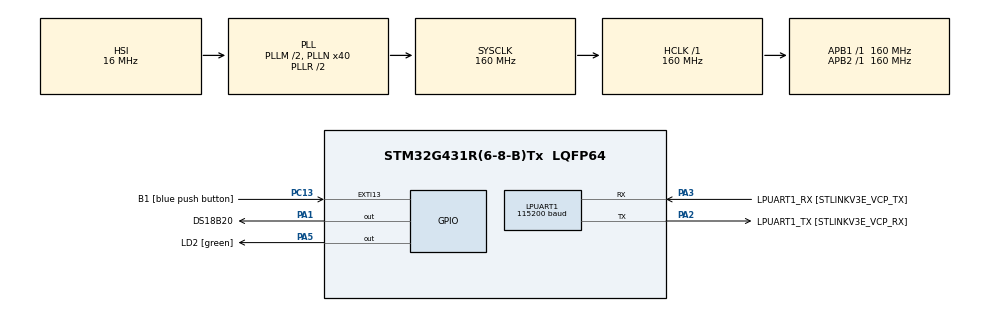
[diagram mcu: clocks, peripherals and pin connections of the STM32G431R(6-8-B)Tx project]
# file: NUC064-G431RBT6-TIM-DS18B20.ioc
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LPUART1.BaudRate=115200
Mcu.Family=STM32G4
Mcu.Name=STM32G431R(6-8-B)Tx
Mcu.Package=LQFP64
NVIC.PriorityGroup=NVIC_PRIORITYGROUP_4
PA1.GPIO_Label=DS18B20
PA1.Signal=GPIO_Output
PA13.GPIO_Label=T_SWDIO
PA13.Mode=Serial_Wire
PA13.Signal=SYS_JTMS-SWDIO
PA14.GPIO_Label=T_SWCLK
PA14.Mode=Serial_Wire
PA14.Signal=SYS_JTCK-SWCLK
PA2.GPIO_Label=LPUART1_TX [STLINKV3E_VCP_RX]
PA2.Mode=Asynchronous
PA2.Signal=LPUART1_TX
PA3.GPIO_Label=LPUART1_RX [STLINKV3E_VCP_TX]
PA3.Mode=Asynchronous
PA3.Signal=LPUART1_RX
PA5.GPIO_Label=LD2 [green]
PA5.Signal=GPIO_Output
PC13.GPIO_Label=B1 [blue push button]
PC13.Signal=GPXTI13
ProjectManager.HeapSize=0x200
ProjectManager.StackSize=0x400
ProjectManager.TargetToolchain=STM32CubeIDE
RCC.ADC12Freq_Value=160000000
RCC.AHBFreq_Value=160000000
RCC.APB1Freq_Value=160000000
RCC.APB1TimFreq_Value=160000000
RCC.APB2Freq_Value=160000000
RCC.APB2TimFreq_Value=160000000
RCC.CortexFreq_Value=160000000
RCC.EXTERNAL_CLOCK_VALUE=12288000
RCC.HCLKFreq_Value=160000000
RCC.HSE_VALUE=24000000
RCC.HSI48_VALUE=48000000
RCC.HSI_VALUE=16000000
RCC.LSE_VALUE=32768
RCC.PLLM=RCC_PLLM_DIV2
RCC.PLLN=40
RCC.RTCClockSelection=RCC_RTCCLKSOURCE_LSE
RCC.SYSCLKFreq_VALUE=160000000
RCC.SYSCLKSource=RCC_SYSCLKSOURCE_PLLCLK
RCC.USBFreq_Value=160000000
RCC.VCOOutputFreq_Value=320000000
TIM8.PeriodNoDither=65535
TIM8.Prescaler=159
VP_SYS_VS_DBSignals.Mode=DisableDeadBatterySignals
VP_TIM8_VS_ClockSourceINT.Mode=Internal
board=NUCLEO-G431RB

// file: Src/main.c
/* USER CODE BEGIN Header */
/**
  ******************************************************************************
  * @file           : main.c
  * @brief          : Main program body
  ******************************************************************************
  * @attention
  *
  * <h2><center>&copy; Copyright (c) 2020 STMicroelectronics.
  * All rights reserved.</center></h2>
  *
  * This software component is licensed by ST under BSD 3-Clause license,
  * the "License"; You may not use this file except in compliance with the
  * License. You may obtain a copy of the License at:
  *                        opensource.org/licenses/BSD-3-Clause
  *
  ******************************************************************************
  */
/* USER CODE END Header */

#include "main.h"

/* USER CODE BEGIN Includes */
#include <stdio.h>								// funkce pro ovládání vstupu a výstupu (USART)
#include <string.h>								// definice maker, konstant a deklarace funkcí a typů
#include <stdint.h>								// definice proměnných
#include "onewire.h"
#include "ds18b20.h"
/* USER CODE END Includes */

/* USER CODE BEGIN PTD */
#define INTERVAL 1000							// interval v ms
#define TIME_TEST
/* USER CODE END PTD */

UART_HandleTypeDef hlpuart1;

TIM_HandleTypeDef htim8;

/* USER CODE BEGIN PV */
int lastTick;								// Multitasking delay
int i = 0;									// Count impulse

float temperature;
char message[64];

/* USER CODE END PV */

void SystemClock_Config(void);
static void MX_GPIO_Init(void);
static void MX_LPUART1_UART_Init(void);
static void MX_TIM8_Init(void);
/* USER CODE BEGIN PFP */
/* USART --------------------------------------------------------------------*/
#ifdef __GNUC__
/* With GCC/RAISONANCE, small printf (option LD Linker->Libraries->Small printf
 set to 'Yes') calls __io_putchar() */
#define PUTCHAR_PROTOTYPE int __io_putchar(int ch)
#else
#define PUTCHAR_PROTOTYPE int fputc(int ch, FILE *f)
#endif /* __GNUC__ */

/* ???? --------------------------------------------------------------------*/
/* USER CODE END PFP */

int main(void)
{

  /* MCU Configuration--------------------------------------------------------*/

  /* Reset of all peripherals, Initializes the Flash interface and the Systick. */
  HAL_Init();

  /* Configure the system clock */
  SystemClock_Config();

  /* Initialize all configured peripherals */
  MX_GPIO_Init();
  MX_LPUART1_UART_Init();
  MX_TIM8_Init();
  /* USER CODE BEGIN 2 */

  DS18B20_Init(DS18B20_Resolution_12bits);
  /* USER CODE END 2 */

  /* Infinite loop */
  /* USER CODE BEGIN WHILE */
//  printf("OK \n \r");
  while (1)
  {
		/*--------    Multitasking   ----------------------------------------------------------*/
		if((HAL_GetTick() - lastTick) > INTERVAL)
		{
			lastTick	=	HAL_GetTick();							//Update last Tick
			//printf ("Count: %04d \n \r", i);
			//HAL_GPIO_TogglePin (GPIOB, LD1_Pin); 					// Přepnout zelenou LED
			//HAL_GPIO_TogglePin (GPIOB, LD2_Pin); 					// Přepnout modrou LED
			//HAL_GPIO_TogglePin (GPIOB, LD3_Pin); 					// Přepnout červenou LED
			i++;

			/*--------    DS18B20   ----------------------------------------------------------*/
			  DS18B20_ReadAll();
		      DS18B20_StartAll();
		      uint8_t ROM_tmp[8];
		      uint8_t c;
			for(c = 0; c < DS18B20_Quantity(); c++)
				{
					if(DS18B20_GetTemperature(c, &temperature))
					{
						DS18B20_GetROM(c, ROM_tmp);
						memset(message, 0, sizeof(message));
						sprintf(message, "%d. ROM: %X%X%X%X%X%X%X%X Temp: %.3f\n\r",c, ROM_tmp[0], ROM_tmp[1], ROM_tmp[2], ROM_tmp[3], ROM_tmp[4], ROM_tmp[5], ROM_tmp[6], ROM_tmp[7], temperature);
						HAL_UART_Transmit(&hlpuart1, (uint8_t*)message, sizeof(message), 100);
					}
				}
				HAL_UART_Transmit(&hlpuart1, (uint8_t*)"\n\r", sizeof("\n\r"), 100);
				//HAL_Delay(1000);
				HAL_GPIO_TogglePin(LD2_GPIO_Port, LD2_Pin);

			/*--------    DS18B20  END --------------------------------------------------------*/
		}
    /* USER CODE END WHILE */

  }
}

void SystemClock_Config(void)
{
  RCC_OscInitTypeDef RCC_OscInitStruct = {0};
  RCC_ClkInitTypeDef RCC_ClkInitStruct = {0};
  RCC_PeriphCLKInitTypeDef PeriphClkInit = {0};

  /** Configure the main internal regulator output voltage
  */
  HAL_PWREx_ControlVoltageScaling(PWR_REGULATOR_VOLTAGE_SCALE1_BOOST);
  /** Initializes the CPU, AHB and APB busses clocks
  */
  RCC_OscInitStruct.OscillatorType = RCC_OSCILLATORTYPE_HSI;
  RCC_OscInitStruct.HSIState = RCC_HSI_ON;
  RCC_OscInitStruct.HSICalibrationValue = RCC_HSICALIBRATION_DEFAULT;
  RCC_OscInitStruct.PLL.PLLState = RCC_PLL_ON;
  RCC_OscInitStruct.PLL.PLLSource = RCC_PLLSOURCE_HSI;
  RCC_OscInitStruct.PLL.PLLM = RCC_PLLM_DIV2;
  RCC_OscInitStruct.PLL.PLLN = 40;
  RCC_OscInitStruct.PLL.PLLP = RCC_PLLP_DIV2;
  RCC_OscInitStruct.PLL.PLLQ = RCC_PLLQ_DIV2;
  RCC_OscInitStruct.PLL.PLLR = RCC_PLLR_DIV2;
  if (HAL_RCC_OscConfig(&RCC_OscInitStruct) != HAL_OK)
  {
    Error_Handler();
  }
  /** Initializes the CPU, AHB and APB busses clocks
  */
  RCC_ClkInitStruct.ClockType = RCC_CLOCKTYPE_HCLK|RCC_CLOCKTYPE_SYSCLK
                              |RCC_CLOCKTYPE_PCLK1|RCC_CLOCKTYPE_PCLK2;
  RCC_ClkInitStruct.SYSCLKSource = RCC_SYSCLKSOURCE_PLLCLK;
  RCC_ClkInitStruct.AHBCLKDivider = RCC_SYSCLK_DIV1;
  RCC_ClkInitStruct.APB1CLKDivider = RCC_HCLK_DIV1;
  RCC_ClkInitStruct.APB2CLKDivider = RCC_HCLK_DIV1;

  if (HAL_RCC_ClockConfig(&RCC_ClkInitStruct, FLASH_LATENCY_7) != HAL_OK)
  {
    Error_Handler();
  }
  /** Initializes the peripherals clocks
  */
  PeriphClkInit.PeriphClockSelection = RCC_PERIPHCLK_LPUART1;
  PeriphClkInit.Lpuart1ClockSelection = RCC_LPUART1CLKSOURCE_PCLK1;
  if (HAL_RCCEx_PeriphCLKConfig(&PeriphClkInit) != HAL_OK)
  {
    Error_Handler();
  }
}

static void MX_LPUART1_UART_Init(void)
{

  hlpuart1.Instance = LPUART1;
  hlpuart1.Init.BaudRate = 115200;
  hlpuart1.Init.WordLength = UART_WORDLENGTH_8B;
  hlpuart1.Init.StopBits = UART_STOPBITS_1;
  hlpuart1.Init.Parity = UART_PARITY_NONE;
  hlpuart1.Init.Mode = UART_MODE_TX_RX;
  hlpuart1.Init.HwFlowCtl = UART_HWCONTROL_NONE;
  hlpuart1.Init.OneBitSampling = UART_ONE_BIT_SAMPLE_DISABLE;
  hlpuart1.AdvancedInit.AdvFeatureInit = UART_ADVFEATURE_NO_INIT;
  if (HAL_UART_Init(&hlpuart1) != HAL_OK)
  {
    Error_Handler();
  }
  if (HAL_UARTEx_SetTxFifoThreshold(&hlpuart1, UART_TXFIFO_THRESHOLD_1_8) != HAL_OK)
  {
    Error_Handler();
  }
  if (HAL_UARTEx_SetRxFifoThreshold(&hlpuart1, UART_RXFIFO_THRESHOLD_1_8) != HAL_OK)
  {
    Error_Handler();
  }
  if (HAL_UARTEx_DisableFifoMode(&hlpuart1) != HAL_OK)
  {
    Error_Handler();
  }

}

static void MX_TIM8_Init(void)
{

  TIM_ClockConfigTypeDef sClockSourceConfig = {0};
  TIM_MasterConfigTypeDef sMasterConfig = {0};
  TIM_BreakDeadTimeConfigTypeDef sBreakDeadTimeConfig = {0};

  htim8.Instance = TIM8;
  htim8.Init.Prescaler = 159;
  htim8.Init.CounterMode = TIM_COUNTERMODE_UP;
  htim8.Init.Period = 65535;
  htim8.Init.ClockDivision = TIM_CLOCKDIVISION_DIV1;
  htim8.Init.RepetitionCounter = 0;
  htim8.Init.AutoReloadPreload = TIM_AUTORELOAD_PRELOAD_DISABLE;
  if (HAL_TIM_Base_Init(&htim8) != HAL_OK)
  {
    Error_Handler();
  }
  sClockSourceConfig.ClockSource = TIM_CLOCKSOURCE_INTERNAL;
  if (HAL_TIM_ConfigClockSource(&htim8, &sClockSourceConfig) != HAL_OK)
  {
    Error_Handler();
  }
  sMasterConfig.MasterOutputTrigger = TIM_TRGO_RESET;
  sMasterConfig.MasterOutputTrigger2 = TIM_TRGO2_RESET;
  sMasterConfig.MasterSlaveMode = TIM_MASTERSLAVEMODE_DISABLE;
  if (HAL_TIMEx_MasterConfigSynchronization(&htim8, &sMasterConfig) != HAL_OK)
  {
    Error_Handler();
  }
  sBreakDeadTimeConfig.BreakAFMode = TIM_BREAK_AFMODE_INPUT;
  sBreakDeadTimeConfig.Break2AFMode = TIM_BREAK_AFMODE_INPUT;
  if (HAL_TIMEx_ConfigBreakDeadTime(&htim8, &sBreakDeadTimeConfig) != HAL_OK)
  {
    Error_Handler();
  }

}

static void MX_GPIO_Init(void)
{
  GPIO_InitTypeDef GPIO_InitStruct = {0};

  /* GPIO Ports Clock Enable */
  __HAL_RCC_GPIOC_CLK_ENABLE();
  __HAL_RCC_GPIOA_CLK_ENABLE();

  /*Configure GPIO pin Output Level */
  HAL_GPIO_WritePin(GPIOA, DS18B20_Pin|LD2_Pin, GPIO_PIN_RESET);

  /*Configure GPIO pin : B1_Pin */
  GPIO_InitStruct.Pin = B1_Pin;
  GPIO_InitStruct.Mode = GPIO_MODE_IT_RISING;
  GPIO_InitStruct.Pull = GPIO_NOPULL;
  HAL_GPIO_Init(B1_GPIO_Port, &GPIO_InitStruct);

  /*Configure GPIO pins : DS18B20_Pin LD2_Pin */
  GPIO_InitStruct.Pin = DS18B20_Pin|LD2_Pin;
  GPIO_InitStruct.Mode = GPIO_MODE_OUTPUT_PP;
  GPIO_InitStruct.Pull = GPIO_NOPULL;
  GPIO_InitStruct.Speed = GPIO_SPEED_FREQ_LOW;
  HAL_GPIO_Init(GPIOA, &GPIO_InitStruct);

}

/* USER CODE BEGIN 4 */

/**************************** UART ***********************************************/
PUTCHAR_PROTOTYPE
{
	HAL_UART_Transmit(&hlpuart1, (uint8_t *)&ch, 1, 0xFFFF);
	return ch;
}
/**************************** UART - END *****************************************/
/* USER CODE END 4 */

void Error_Handler(void)
{
}

/************************ (C) COPYRIGHT STMicroelectronics *****END OF FILE****/
